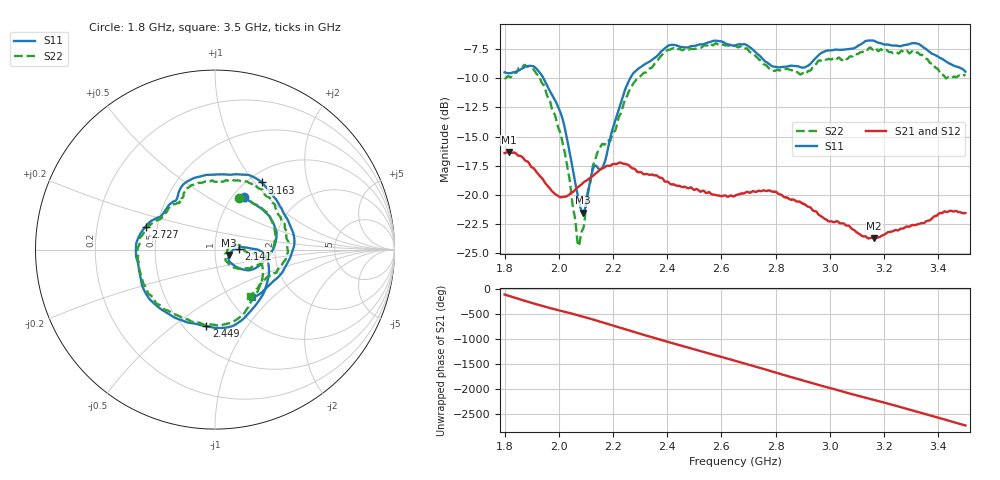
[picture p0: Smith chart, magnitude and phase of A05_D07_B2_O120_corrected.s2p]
! Created with skrf 1.9.0 (http://scikit-rf.org).
# Hz S RI R 50.0
!freq ReS11 ImS11 ReS21 ImS21 ReS12 ImS12 ReS22 ImS22
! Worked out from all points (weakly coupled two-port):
!   1601 points, 1.8 GHz to 3.5 GHz, reference 50 ohm
!   highest |S21| = -16.33 dB at 1.815 GHz (marker M1); lowest = -23.7 dB at 3.163 GHz (marker M2)
!   lowest |S11| = -21.5 dB at 2.09 GHz (marker M3), VSWR 1.18, Z = 58.4 - j3.56 ohm
!   |S11| at or under -10 dB: 1.943 GHz to 2.264 GHz (320.7 MHz wide, 15.2 % of centre)
!   |S22| runs from -24.4 to -7.0 dB; largest |S21 - S12| = 0.0029
!   S11 on the Smith chart (normalised r, x): 1.8 GHz: 1.13, +0.74; 2.141 GHz: 1.30, +0.01; 2.449 GHz: 0.64, -0.67; 2.727 GHz: 0.43, +0.13; 3.163 GHz: 1.16, +1.09; 3.5 GHz: 1.27, -0.76
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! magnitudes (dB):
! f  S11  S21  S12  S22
! 1.8 GHz  -9.5  -16.4  -16.4  -10.0
! 1.815 GHz  -9.6  -16.3  -16.3  -9.9
! 1.88 GHz  -9.0  -17.1  -17.1  -9.0
! 1.942 GHz  -10.0  -18.7  -18.7  -10.5
! 2.013 GHz  -13.4  -20.2  -20.2  -15.4
! 2.069 GHz  -19.9  -19.4  -19.4  -24.0
! 2.084 GHz  -21.3  -19.1  -19.1  -23.2
! 2.09 GHz  -21.5  -19.0  -19.0  -22.9
! 2.141 GHz  -17.6  -18.1  -18.1  -16.4
! 2.167 GHz  -17.4  -17.7  -17.7  -15.7
! 2.264 GHz  -10.0  -17.6  -17.6  -10.9
! 2.367 GHz  -8.0  -18.4  -18.4  -8.4
! 2.449 GHz  -7.3  -19.3  -19.3  -7.5
! 2.65 GHz  -7.2  -20.1  -20.1  -7.3
! 2.727 GHz  -7.8  -19.7  -19.8  -8.1
! 2.798 GHz  -9.0  -19.7  -19.7  -9.4
! 2.934 GHz  -8.6  -21.2  -21.2  -9.2
! 3.163 GHz  -6.8  -23.7  -23.7  -7.5
! 3.217 GHz  -7.1  -23.2  -23.1  -7.8
! 3.324 GHz  -7.1  -22.5  -22.5  -7.8
! 3.427 GHz  -8.5  -21.4  -21.4  -10.0
! 3.5 GHz  -9.4  -21.5  -21.5  -9.8
